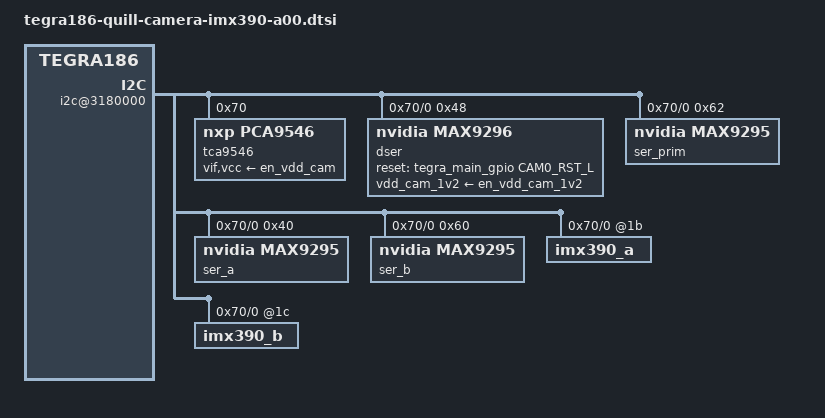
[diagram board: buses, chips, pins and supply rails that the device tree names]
/*
 * Copyright (c) 2018-2019, NVIDIA CORPORATION.  All rights reserved.
 *
 * This program is free software; you can redistribute it and/or modify
 * it under the terms of the GNU General Public License as published by
 * the Free Software Foundation; either version 2 of the License, or
 * (at your option) any later version.
 *
 * This program is distributed in the hope that it will be useful, but WITHOUT
 * ANY WARRANTY; without even the implied warranty of MERCHANTABILITY or
 * FITNESS FOR A PARTICULAR PURPOSE.  See the GNU General Public License for
 * more details.
 *
 * You should have received a copy of the GNU General Public License
 * along with this program.  If not, see <http://www.gnu.org/licenses/>.
 */
#include <t18x-common-modules/tegra186-camera-imx390-a00.dtsi>
#include "dt-bindings/clock/tegra186-clock.h"

#define CAM0_RST_L	TEGRA_MAIN_GPIO(R, 5)
#define CAM0_PWDN	TEGRA_MAIN_GPIO(R, 0)

#define CAMERA_I2C_MUX_BUS(x) (0x1E + x)

/* camera control gpio definitions */

/ {
	i2c@3180000 {
		tca9546@70 {
			compatible = "nxp,pca9546";
			reg = <0x70>;
			#address-cells = <1>;
			#size-cells = <0>;
			skip_mux_detect = "yes";
			vif-supply = <&en_vdd_cam>;
			vcc-supply = <&en_vdd_cam>;
			vcc_lp = "vcc";
			force_bus_start = <CAMERA_I2C_MUX_BUS(0)>;

			i2c@0 {
				reg = <0>;
				i2c-mux,deselect-on-exit;
				#address-cells = <1>;
				#size-cells = <0>;
				dser: max9296@48 {
					compatible = "nvidia,max9296";
					reg = <0x48>;
					csi-mode = "2x4";
					max-src = <2>;
					reset-gpios = <&tegra_main_gpio CAM0_RST_L GPIO_ACTIVE_HIGH>;
					vdd_cam_1v2-supply = <&en_vdd_cam_1v2>;
				};
				ser_prim: max9295_prim@62 {
					compatible = "nvidia,max9295";
					reg = <0x62>;
					is-prim-ser;
				};
				ser_a: max9295_a@40 {
					compatible = "nvidia,max9295";
					reg = <0x40>;
					nvidia,gmsl-dser-device = <&dser>;
				};
				ser_b: max9295_b@60 {
					compatible = "nvidia,max9295";
					reg = <0x60>;
					nvidia,gmsl-dser-device = <&dser>;
				};
				imx390_a@1b {
					def-addr = <0x1a>;
					/* Define any required hw resources needed by driver */
					/* ie. clocks, io pins, power sources */
					clocks = <&tegra_car TEGRA186_CLK_EXTPERIPH1>,
							 <&tegra_car TEGRA186_CLK_PLLP_OUT0>;
					clock-names = "extperiph1", "pllp_grtba";
					mclk = "extperiph1";
					nvidia,gmsl-ser-device = <&ser_a>;
					nvidia,gmsl-dser-device = <&dser>;
				};
				imx390_b@1c {
					def-addr = <0x1a>;
					/* Define any required hw resources needed by driver */
					/* ie. clocks, io pins, power sources */
					clocks = <&tegra_car TEGRA186_CLK_EXTPERIPH1>,
							 <&tegra_car TEGRA186_CLK_PLLP_OUT0>;
					clock-names = "extperiph1", "pllp_grtba";
					mclk = "extperiph1";
					nvidia,gmsl-ser-device = <&ser_b>;
					nvidia,gmsl-dser-device = <&dser>;
				};
			};
		};
	};
};
